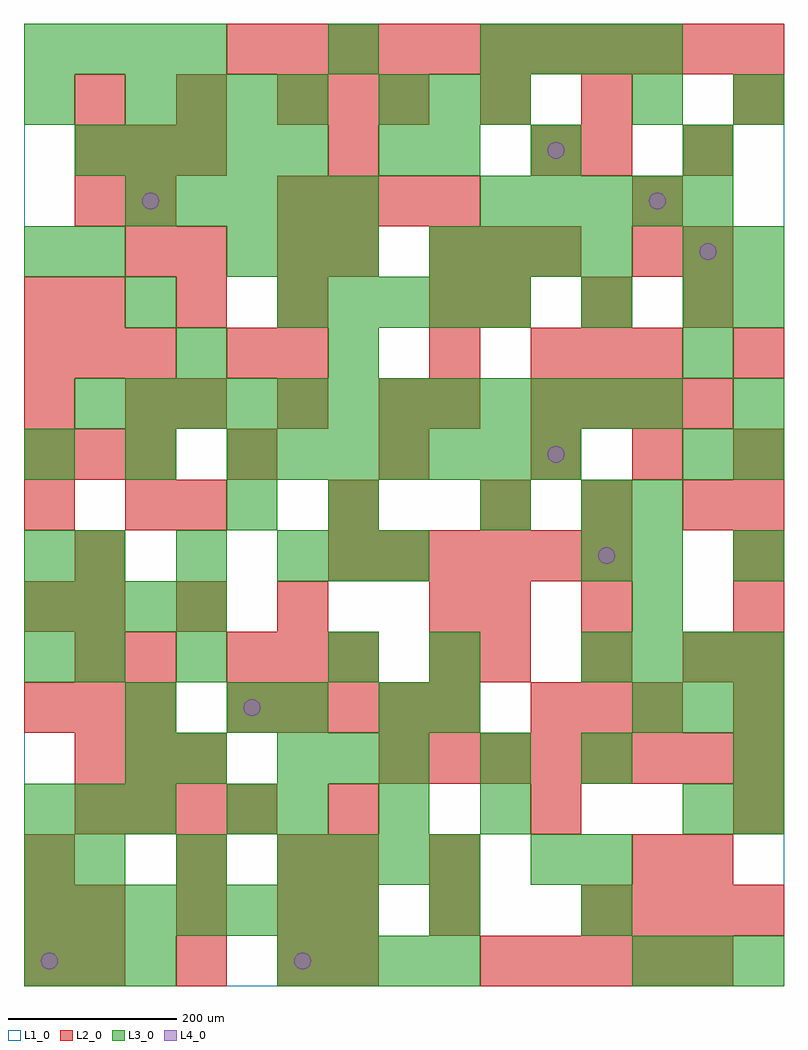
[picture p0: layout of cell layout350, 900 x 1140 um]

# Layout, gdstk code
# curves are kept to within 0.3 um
import gdstk
lib = gdstk.Library(unit=1e-6, precision=1e-09)
def R(c, l, rs):  # rectangles x0, y0, x1, y1
    for r in rs: c.add(gdstk.rectangle(r[:2], r[2:], *l))
def A(c, l, x, y, w, h, nx, ny, dx, dy):  # array of equal rectangles
    R(c, l, [(x+i*dx, y+j*dy, x+i*dx+w, y+j*dy+h) for i in range(nx) for j in range(ny)])
def P(c, l, *ps):  # polygons
    for p in ps: c.add(gdstk.Polygon(p, *l))
L1_0 = (1, 0)
L2_0 = (2, 0)
L3_0 = (3, 0)
L4_0 = (4, 0)

layout350 = lib.new_cell('layout350')
R(layout350, L1_0, [(0,0,900,1140)])
A(layout350, L2_0, 0, 0, 60, 60, 1, 3, 0, 60)
A(layout350, L2_0, 60, 0, 60, 60, 3, 2, 120, 60)
A(layout350, L2_0, 360, 0, 60, 60, 1, 3, 0, 60)
A(layout350, L2_0, 540, 0, 60, 60, 5, 1, 60, 0)
A(layout350, L2_0, 660, 60, 60, 60, 4, 1, 60, 0)
A(layout350, L2_0, 60, 180, 60, 60, 4, 1, 60, 0)
A(layout350, L2_0, 360, 180, 60, 60, 3, 1, 240, 0)
A(layout350, L2_0, 60, 240, 60, 60, 3, 2, 60, 720)
A(layout350, L2_0, 420, 240, 60, 60, 8, 1, 60, 0)
A(layout350, L2_0, 0, 300, 60, 60, 3, 2, 60, 300)
A(layout350, L2_0, 240, 300, 60, 60, 5, 1, 60, 0)
A(layout350, L2_0, 600, 300, 60, 60, 3, 2, 60, 420)
A(layout350, L2_0, 840, 300, 60, 60, 1, 6, 0, 60)
A(layout350, L2_0, 240, 360, 60, 60, 3, 1, 60, 0)
A(layout350, L2_0, 540, 360, 60, 60, 3, 2, 120, 420)
A(layout350, L2_0, 0, 420, 60, 60, 1, 4, 0, 120)
A(layout350, L2_0, 60, 420, 60, 60, 3, 2, 120, 360)
A(layout350, L2_0, 360, 480, 60, 60, 6, 1, 60, 0)
A(layout350, L2_0, 180, 540, 60, 60, 3, 1, 180, 0)
A(layout350, L2_0, 240, 600, 60, 60, 3, 1, 180, 0)
A(layout350, L2_0, 180, 660, 60, 60, 3, 1, 120, 0)
A(layout350, L2_0, 480, 660, 60, 60, 1, 3, 0, 60)
A(layout350, L2_0, 600, 660, 60, 60, 4, 1, 60, 0)
A(layout350, L2_0, 0, 720, 60, 60, 3, 1, 60, 0)
A(layout350, L2_0, 480, 840, 60, 60, 3, 1, 60, 0)
A(layout350, L2_0, 300, 900, 60, 60, 4, 1, 60, 0)
A(layout350, L2_0, 60, 1020, 60, 60, 3, 1, 120, 0)
A(layout350, L2_0, 420, 1020, 60, 60, 3, 1, 120, 0)
A(layout350, L2_0, 240, 1080, 60, 60, 11, 1, 60, 0)
R(layout350, L2_0, [(480,60,540,120), (180,120,240,180), (300,120,360,180), (480,120,540,180), (720,120,780,180), (780,120,840,180), (60,360,120,420), (120,360,180,420), (480,360,540,420), (480,420,540,480), (540,420,600,480), (660,420,720,480), (60,480,120,540), (120,540,180,600), (660,540,720,600), (780,540,840,600), (720,600,780,660), (120,660,180,720), (240,720,300,780), (300,720,360,780), (840,720,900,780), (120,840,180,900), (180,840,240,900), (300,840,360,900), (360,840,420,900), (720,840,780,900), (780,840,840,900), (60,900,120,960), (120,900,180,960), (720,900,780,960), (360,960,420,1020), (600,960,660,1020), (660,960,720,1020), (780,960,840,1020), (360,1020,420,1080), (840,1020,900,1080)])
A(layout350, L3_0, 0, 0, 60, 60, 3, 2, 60, 180)
A(layout350, L3_0, 300, 0, 60, 60, 4, 1, 60, 0)
A(layout350, L3_0, 720, 0, 60, 60, 3, 2, 60, 300)
A(layout350, L3_0, 0, 60, 60, 60, 7, 1, 60, 0)
A(layout350, L3_0, 60, 120, 60, 60, 3, 2, 120, 360)
A(layout350, L3_0, 360, 120, 60, 60, 3, 1, 60, 0)
A(layout350, L3_0, 300, 180, 60, 60, 3, 1, 120, 0)
A(layout350, L3_0, 300, 240, 60, 60, 3, 1, 60, 0)
A(layout350, L3_0, 660, 360, 60, 60, 4, 1, 60, 0)
A(layout350, L3_0, 0, 420, 60, 60, 4, 2, 60, 660)
A(layout350, L3_0, 720, 420, 60, 60, 1, 3, 0, 60)
A(layout350, L3_0, 0, 600, 60, 60, 3, 1, 120, 0)
A(layout350, L3_0, 300, 600, 60, 60, 6, 1, 60, 0)
A(layout350, L3_0, 60, 660, 60, 60, 12, 1, 60, 0)
A(layout350, L3_0, 780, 720, 60, 60, 1, 3, 0, 60)
A(layout350, L3_0, 300, 780, 60, 60, 5, 1, 60, 0)
A(layout350, L3_0, 240, 840, 60, 60, 3, 1, 60, 0)
A(layout350, L3_0, 480, 840, 60, 60, 4, 1, 60, 0)
A(layout350, L3_0, 120, 900, 60, 60, 5, 1, 60, 0)
A(layout350, L3_0, 540, 900, 60, 60, 5, 1, 60, 0)
A(layout350, L3_0, 60, 960, 60, 60, 5, 1, 60, 0)
A(layout350, L3_0, 120, 1020, 60, 60, 4, 1, 60, 0)
A(layout350, L3_0, 420, 1020, 60, 60, 3, 1, 60, 0)
A(layout350, L3_0, 540, 1080, 60, 60, 4, 1, 60, 0)
R(layout350, L3_0, [(480,60,540,120), (660,60,720,120), (0,120,60,180), (600,120,660,180), (660,120,720,180), (240,180,300,240), (780,180,840,240), (840,180,900,240), (120,240,180,300), (180,240,240,300), (540,240,600,300), (660,240,720,300), (840,240,900,300), (120,300,180,360), (240,300,300,360), (300,300,360,360), (420,300,480,360), (480,300,540,360), (0,360,60,420), (60,360,120,420), (180,360,240,420), (360,360,420,420), (480,360,540,420), (0,480,60,540), (360,480,420,540), (420,480,480,540), (660,480,720,540), (840,480,900,540), (240,540,300,600), (360,540,420,600), (540,540,600,600), (660,540,720,600), (780,600,840,660), (840,600,900,660), (840,660,900,720), (180,720,240,780), (360,720,420,780), (120,780,180,840), (660,780,720,840), (840,780,900,840), (0,840,60,900), (60,840,120,900), (840,840,900,900), (420,960,480,1020), (480,960,540,1020), (600,960,660,1020), (780,960,840,1020), (0,1020,60,1080), (720,1020,780,1080), (840,1020,900,1080), (360,1080,420,1140)])
P(layout350, L4_0, [(40,30),(39.239,33.827),(37.071,37.071),(33.827,39.239),(30,40),(26.173,39.239),(22.929,37.071),(20.761,33.827),(20,30),(20.761,26.173),(22.929,22.929),(26.173,20.761),(30,20),(33.827,20.761),(37.071,22.929),(39.239,26.173)],
  [(160,930),(159.239,933.827),(157.071,937.071),(153.827,939.239),(150,940),(146.173,939.239),(142.929,937.071),(140.761,933.827),(140,930),(140.761,926.173),(142.929,922.929),(146.173,920.761),(150,920),(153.827,920.761),(157.071,922.929),(159.239,926.173)],
  [(280,330),(279.239,333.827),(277.071,337.071),(273.827,339.239),(270,340),(266.173,339.239),(262.929,337.071),(260.761,333.827),(260,330),(260.761,326.173),(262.929,322.929),(266.173,320.761),(270,320),(273.827,320.761),(277.071,322.929),(279.239,326.173)],
  [(340,30),(339.239,33.827),(337.071,37.071),(333.827,39.239),(330,40),(326.173,39.239),(322.929,37.071),(320.761,33.827),(320,30),(320.761,26.173),(322.929,22.929),(326.173,20.761),(330,20),(333.827,20.761),(337.071,22.929),(339.239,26.173)],
  [(640,630),(639.239,633.827),(637.071,637.071),(633.827,639.239),(630,640),(626.173,639.239),(622.929,637.071),(620.761,633.827),(620,630),(620.761,626.173),(622.929,622.929),(626.173,620.761),(630,620),(633.827,620.761),(637.071,622.929),(639.239,626.173)],
  [(640,990),(639.239,993.827),(637.071,997.071),(633.827,999.239),(630,1000),(626.173,999.239),(622.929,997.071),(620.761,993.827),(620,990),(620.761,986.173),(622.929,982.929),(626.173,980.761),(630,980),(633.827,980.761),(637.071,982.929),(639.239,986.173)],
  [(700,510),(699.239,513.827),(697.071,517.071),(693.827,519.239),(690,520),(686.173,519.239),(682.929,517.071),(680.761,513.827),(680,510),(680.761,506.173),(682.929,502.929),(686.173,500.761),(690,500),(693.827,500.761),(697.071,502.929),(699.239,506.173)],
  [(760,930),(759.239,933.827),(757.071,937.071),(753.827,939.239),(750,940),(746.173,939.239),(742.929,937.071),(740.761,933.827),(740,930),(740.761,926.173),(742.929,922.929),(746.173,920.761),(750,920),(753.827,920.761),(757.071,922.929),(759.239,926.173)],
  [(820,870),(819.239,873.827),(817.071,877.071),(813.827,879.239),(810,880),(806.173,879.239),(802.929,877.071),(800.761,873.827),(800,870),(800.761,866.173),(802.929,862.929),(806.173,860.761),(810,860),(813.827,860.761),(817.071,862.929),(819.239,866.173)])

lib.write_gds('layout350.gds')
